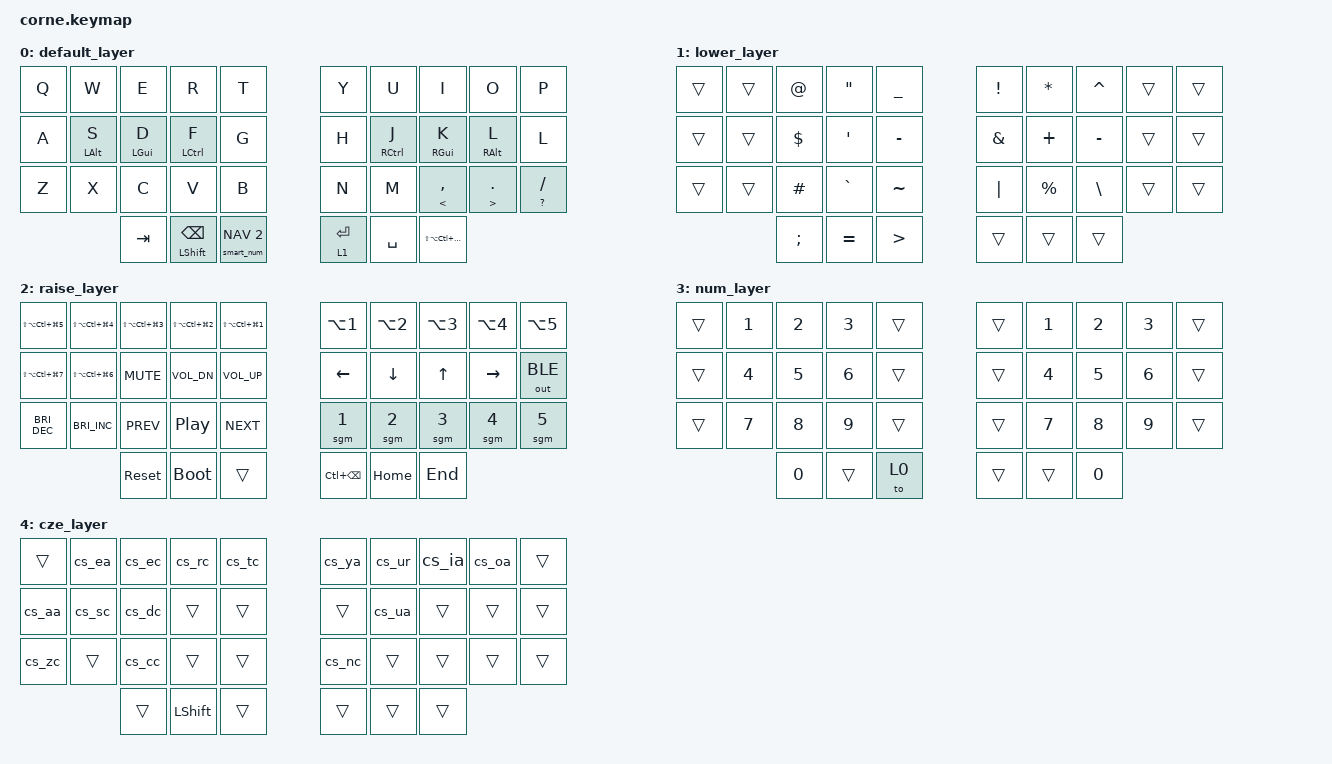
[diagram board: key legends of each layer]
/*
 * Copyright (c) 2020 The ZMK Contributors
 *
 * SPDX-License-Identifier: MIT
 */

#define HOST_OS 2

#include <behaviors.dtsi>
#include <dt-bindings/zmk/keys.h>
#include <dt-bindings/zmk/outputs.h>
#include "zmk-helpers/helper.h"
#include "zmk-helpers/key-labels/36.h"
#include "zmk-helpers/unicode-chars/czech.dtsi"


// NODEFREE docs: https://github.com/urob/zmk-nodefree-config
// ZMK KEYCODES: https://zmk.dev/docs/codes
// REPO: https://github.com/Marty-W/zmk_config


//global settings
#define ___ &trans
#define xx &none

#define DEF 0  // layer shortcuts, must match order in which they are defined below
#define SYM 1
#define NAV 2
#define NUM 3
#define CZE 4


&sl {  // sticky-layer config
    ignore-modifiers;          // allow chording sticky mods & layers
};


/*
 COMBOS

 KEYBOARD POSITIONS for combos
 ╭────────────────────┬──────────────────────╮
 │ LT4 LT3 LT2 LT1 LT0 │ RT0 RT1 RT2 RT3 RT4 │
 │ LM4 LM3 LM2 LM1 LM0 │ RM0 RM1 RM2 RM3 RM4 │
 │ LB4 LB3 LB2 LB1 LB0 │ RB0 RB1 RB2 RB3 RB4 │
 ╰──────╮ LH2 LH1 LH0 │ RH0 RH1 RH2 ╭────────╯
*/

// COMBOS
ZMK_COMBO(combo_raycast, &kp LG(SPACE), LH1 RH1, ALL)
ZMK_COMBO(combo_vimesc, &kp ESC, RM1 RM2, ALL)
ZMK_COMBO(combo_copy, &kp LG(C), LB4 LB2,  ALL)
ZMK_COMBO(combo_paste, &kp LG(V), LB4 LB1,  ALL)
ZMK_COMBO(combo_select_all, &kp LG(A), LB4 LB0, ALL)
ZMK_COMBO(combo_lpar, &kp LPAR, LB2 LB1, ALL)
ZMK_COMBO(combo_rpar, &kp RPAR, LB1 LB0, ALL)
ZMK_COMBO(combo_lbkt, &kp LBKT, LM2 LM1, ALL)
ZMK_COMBO(combo_rbkt, &kp RBKT, LM1 LM0, ALL)
ZMK_COMBO(combo_lbrc, &kp LBRC, LT2 LT1, ALL)
ZMK_COMBO(combo_rbrc, &kp RBRC, LT1 LT0, ALL)
ZMK_COMBO(combo_capsword, &caps_word, LM3 LM2, ALL)
ZMK_COMBO(combo_lreset, &sys_reset, LT4 LM4, ALL)
ZMK_COMBO(combo_lbootloader, &bootloader, LM4 LB4, ALL)
ZMK_COMBO(combo_rreset, &sys_reset, RT4 RM4, ALL)
ZMK_COMBO(combo_rbootloader, &bootloader, RM4 RB4, ALL)


// czech layer
ZMK_COMBO(combo_czech, &sl 4, RT1 RT2, ALL)

// MACROS
ZMK_BEHAVIOR(sgm, macro_one_param,
    bindings =
        <&kp SPACE>,
        <&macro_param_1to1>,
        <&kp MACRO_PLACEHOLDER>;
    wait-ms = <2>;
    tap-ms = <2>;
)


// HOMEROW MODS 
#define QUICK_TAP_MS 175

#define KEYS_L LT0 LT1 LT2 LT3 LT4 LM0 LM1 LM2 LM3 LM4 LB0 LB1 LB2 LB3 LB4  // left hand
#define KEYS_R RT0 RT1 RT2 RT3 RT4 RM0 RM1 RM2 RM3 RM4 RB0 RB1 RB2 RB3 RB4  // right hand
#define THUMBS LH2 LH1 LH0 RH0 RH1 RH2                                      // thumbs

#define MAKE_HRM(NAME, HOLD, TAP, TRIGGER_POS) \
ZMK_BEHAVIOR(NAME, hold_tap, \
    flavor = "balanced"; \
    tapping-term-ms = <280>; \
    quick-tap-ms = <QUICK_TAP_MS>; \
    require-prior-idle-ms = <170>; \
    bindings = <HOLD>, <TAP>; \
    hold-trigger-key-positions = <TRIGGER_POS>; \
    hold-trigger-on-release; \
)

MAKE_HRM(hml, &kp, &kp, KEYS_R THUMBS)  // left-hand HRMs
MAKE_HRM(hmr, &kp, &kp, KEYS_L THUMBS)  // right-hand HRMs

MAKE_HRM(hml_repeat, &kp, &key_repeat, KEYS_R THUMBS)  // used for HRM-combo
// MAKE_HRM(hmr_lpar_lt, &kp, &lpar_lt, KEYS_L THUMBS)    // "    "   "   "
// MAKE_HRM(hmr_rpar_gt, &kp, &rpar_gt, KEYS_L THUMBS)    // "    "   "   "

// tap: num-word | double-tap: sticky num-layer | hold: nav-layer
//
#define SMART_NUM &smart_num NAV 2
ZMK_BEHAVIOR(smart_num, hold_tap,
    flavor = "balanced";
    tapping-term-ms = <200>;
    quick-tap-ms = <QUICK_TAP_MS>;
    bindings = <&mo>, <&num_dance>;
)
ZMK_BEHAVIOR(num_dance, tap_dance,
    tapping-term-ms = <200>;
    bindings = <&num_word>, <&sl NUM>;  // reverse this for sticky-num on single tap
)
&num_word {  // num-word, requires PR #1451
    layers = <NUM>;
    continue-list = <BSPC DEL DOT COMMA PLUS MINUS STAR FSLH EQUAL>;
};


// ALIASES 
#define HYPER &kp LS(LA(LC(LG(LEFT_GUI))))
#define LSC &mt LESS_THAN COMMA
#define SPACE1 &kp LS(LA(LC(LG(N1))))
#define SPACE2 &kp LS(LA(LC(LG(N2))))
#define SPACE3 &kp LS(LA(LC(LG(N3))))
#define SPACE4 &kp LS(LA(LC(LG(N4))))
#define SPACE5 &kp LS(LA(LC(LG(N5))))
#define SPACE6 &kp LS(LA(LC(LG(N6))))
#define SPACE7 &kp LS(LA(LC(LG(N7))))
#define SPACE8 &kp LS(LA(LC(LG(N8))))

ZMK_LAYER(default_layer,
// ╭───────────┬───────────┬─────────────┬────────────┬─────╮╭──────┬────────────┬─────────────┬───────────┬───────────────╮
    &kp Q       &kp W       &kp E         &kp R        &kp T  &kp Y  &kp U        &kp I         &kp O       &kp P          
// ├───────────┼───────────┼─────────────┼────────────┼─────┤├──────┼────────────┼─────────────┼───────────┼───────────────┤
    &kp A       &hml LALT S &hml LGUI D   &hml LCTRL F &kp G  &kp H  &hmr RCTRL J &hmr RGUI K   &hmr RALT L &kp L          
// ├───────────┼───────────┼─────────────┼────────────┼─────┤├──────┼────────────┼─────────────┼───────────┼───────────────┤
    &kp Z       &kp X       &kp C         &kp V        &kp B  &kp N  &kp M        &mt LT COMMA  &mt GT DOT  &mt QMARK SLASH
// ╰───────────┼───────────┼─────────────┼────────────┼─────┤├──────┼────────────┼─────────────┼───────────┼───────────────┤
                                   &kp TAB &mt LSHIFT BSPC  SMART_NUM   &lt 1 ENTER &kp SPACE HYPER
        //                        ╰───────┴─────────┴──────────╯╰───────────┴─────────┴─────╯
)

// changer
  

ZMK_LAYER(lower_layer,
    // ╭───────┬──────┬──────────┬─────────┬─────────╮╭────────┬───────────┬─────────┬──────┬──────╮
        &trans  &trans &kp AT     &kp DQT   &kp UNDER  &kp EXCL &kp STAR    &kp CARET &trans &trans
    // ├───────┼──────┼──────────┼─────────┼─────────┤├────────┼───────────┼─────────┼──────┼──────┤
        &trans  &trans &kp DOLLAR &kp APOS  &kp MINUS  &kp AMPS &kp PLUS    &kp MINUS &trans &trans
    // ├───────┼──────┼──────────┼─────────┼─────────┤├────────┼───────────┼─────────┼──────┼──────┤
        &trans  &trans &kp HASH   &kp GRAVE &kp TILDE  &kp PIPE &kp PERCENT &kp BSLH  &trans &trans
    // ╰───────┼──────┼──────────┼─────────┼─────────┤├────────┼───────────┼─────────┼──────┼──────┤
                          &kp SEMI   &kp EQUAL &kp GT     &trans   &trans      &trans
    //                   ╰──────────┴─────────┴─────────╯╰────────┴───────────┴─────────╯
)

ZMK_LAYER(raise_layer,
    // ╭─────────────┬─────────────┬───────────┬────────────┬────────────╮╭────────────┬──────────┬──────────┬──────────┬─────────────╮
        SPACE5        SPACE4        SPACE3      SPACE2       SPACE1        &kp LA(N1)   &kp LA(N2) &kp LA(N3) &kp LA(N4) &kp LA(N5)   
    // ├─────────────┼─────────────┼───────────┼────────────┼────────────┤├────────────┼──────────┼──────────┼──────────┼─────────────┤
        SPACE7        SPACE6        &kp C_MUTE  &kp C_VOL_DN &kp C_VOL_UP  &kp LEFT     &kp DOWN   &kp UP     &kp RIGHT  &out OUT_BLE 
    // ├─────────────┼─────────────┼───────────┼────────────┼────────────┤├────────────┼──────────┼──────────┼──────────┼─────────────┤
        &kp C_BRI_DEC &kp C_BRI_INC &kp C_PREV  &kp C_PP     &kp C_NEXT    &sgm N1      &sgm N2    &sgm N3    &sgm N4    &sgm N5      
    // ╰─────────────┼─────────────┼───────────┼────────────┼────────────┤├────────────┼──────────┼──────────┼──────────┼─────────────┤
                                       &sys_reset  &bootloader  &trans        &kp LC(BSPC) &kp HOME   &kp END
    //                                ╰───────────┴────────────┴────────────╯╰────────────┴──────────┴──────────╯
)


ZMK_LAYER(num_layer,
    // ╭──────┬──────┬──────┬──────┬──────╮   ╭──────┬──────┬──────┬──────┬──────╮
        &trans &kp N1 &kp N2 &kp N3 &trans     &trans &kp N1 &kp N2 &kp N3 &trans
    // ├──────┼──────┼──────┼──────┼──────┤   ├──────┼──────┼──────┼──────┼──────┤
        &trans &kp N4 &kp N5 &kp N6 &trans     &trans &kp N4 &kp N5 &kp N6 &trans
    // ├──────┼──────┼──────┼──────┼──────┤   ├──────┼──────┼──────┼──────┼──────┤
        &trans &kp N7 &kp N8 &kp N9 &trans     &trans &kp N7 &kp N8 &kp N9 &trans
    // ╰──────┼──────┼──────┼──────┼──────┤   ├──────┼──────┼──────┼──────┼──────┤
                         &kp N0 &trans &to 0      &trans &trans &kp N0
    //                  ╰──────┴──────┴──────╯   ╰──────┴──────┴──────╯
)

ZMK_LAYER(cze_layer,
    // ╭──────┬──────┬──────┬───────────┬──────╮   ╭──────┬──────┬──────┬──────┬──────╮
        &trans &cs_ea &cs_ec &cs_rc      &cs_tc     &cs_ya &cs_ur &cs_ia &cs_oa &trans
    // ├──────┼──────┼──────┼───────────┼──────┤   ├──────┼──────┼──────┼──────┼──────┤
        &cs_aa &cs_sc &cs_dc &trans      &trans     &trans &cs_ua &trans &trans &trans
    // ├──────┼──────┼──────┼───────────┼──────┤   ├──────┼──────┼──────┼──────┼──────┤
        &cs_zc &trans &cs_cc &trans      &trans     &cs_nc &trans &trans &trans &trans
    // ╰──────┼──────┼──────┼───────────┼──────┤   ├──────┼──────┼──────┼──────┼──────┤
                         &trans &kp LSHIFT  &trans     &trans &trans &trans
    //                  ╰──────┴───────────┴──────╯   ╰──────┴──────┴──────╯
)

